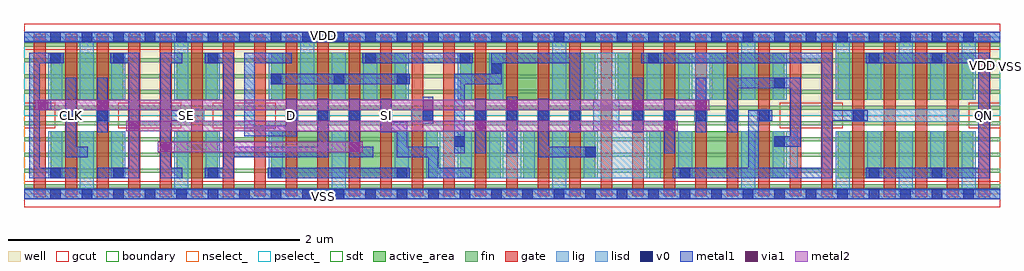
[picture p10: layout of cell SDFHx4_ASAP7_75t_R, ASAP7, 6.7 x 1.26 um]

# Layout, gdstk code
import gdstk
lib = gdstk.Library(unit=1e-6, precision=2.5e-10)
def R(c, l, rs):  # rectangles x0, y0, x1, y1
    for r in rs: c.add(gdstk.rectangle(r[:2], r[2:], *l))
def A(c, l, x, y, w, h, nx, ny, dx, dy):  # array of equal rectangles
    R(c, l, [(x+i*dx, y+j*dy, x+i*dx+w, y+j*dy+h) for i in range(nx) for j in range(ny)])
def P(c, l, *ps):  # polygons
    for p in ps: c.add(gdstk.Polygon(p, *l))
well = (1, 0)
fin = (2, 0)
gate = (7, 0)
gcut = (10, 0)
active_area = (11, 0)
nselect_ = (12, 0)
pselect_ = (13, 0)
lig = (16, 0)
lisd = (17, 0)
v0 = (18, 0)
metal1 = (19, 0)
metal2 = (20, 0)
via1 = (21, 0)
sdt = (88, 0)
boundary = (100, 0)

sdfhx4_asap7_75t_r = lib.new_cell('SDFHx4_ASAP7_75t_R')
R(sdfhx4_asap7_75t_r, well, [(0,0.54,6.696,1.08)])
A(sdfhx4_asap7_75t_r, fin, 0, 0.04, 6.696, 0.028, 1, 10, 0, 0.108)
A(sdfhx4_asap7_75t_r, gate, 0.068, -0.02, 0.08, 1.122, 7, 1, 0.216, 0)
A(sdfhx4_asap7_75t_r, gate, 5.468, -0.02, 0.08, 1.122, 6, 1, 0.216, 0)
A(sdfhx4_asap7_75t_r, gate, 1.58, -0.014, 0.08, 1.108, 18, 1, 0.216, 0)
R(sdfhx4_asap7_75t_r, gate, [(1.364,-0.014,1.444,1.094), (1.58,-0.014,1.66,1.094), (5.252,-0.014,5.332,1.094), (5.468,-0.014,5.548,1.094), (6.548,-0.014,6.628,1.094)])
R(sdfhx4_asap7_75t_r, gcut, [(0,-0.088,6.696,0.088), (0,0.452,0.216,0.628), (0.648,0.452,1.08,0.628), (1.296,0.452,1.728,0.628), (5.184,0.452,5.616,0.628), (6.48,0.452,6.696,0.628), (0,0.992,6.696,1.168)])
R(sdfhx4_asap7_75t_r, active_area, [(0.184,0.108,0.68,0.432), (1.048,0.108,1.328,0.432), (1.696,0.108,2.84,0.432), (2.992,0.108,3.272,0.432), (3.424,0.108,3.92,0.432), (4.288,0.108,5.216,0.432), (5.584,0.108,6.512,0.432), (0.184,0.648,0.68,0.972), (1.048,0.648,1.328,0.972), (1.696,0.648,2.624,0.972), (2.992,0.648,3.92,0.972), (4.072,0.648,4.568,0.972), (4.72,0.648,5.216,0.972), (5.584,0.648,6.512,0.972)])
R(sdfhx4_asap7_75t_r, nselect_, [(0,0,6.696,0.54)])
R(sdfhx4_asap7_75t_r, pselect_, [(0,0.54,6.696,1.08)])
A(sdfhx4_asap7_75t_r, lig, 1.792, 0.496, 0.088, 0.088, 4, 1, 0.216, 0)
A(sdfhx4_asap7_75t_r, lig, 3.088, 0.496, 0.088, 0.088, 4, 1, 0.216, 0)
A(sdfhx4_asap7_75t_r, lig, 4.168, 0.496, 0.088, 0.088, 5, 1, 0.216, 0)
R(sdfhx4_asap7_75t_r, lig, [(0,-0.032,6.696,0.032), (0.28,0.496,0.368,0.584), (0.496,0.496,0.584,0.584), (1.08,0.496,1.236,0.584), (2.656,0.496,2.808,0.584), (5.68,0.496,6.416,0.584), (0,1.048,6.696,1.112)])
A(sdfhx4_asap7_75t_r, lisd, 5.568, 0, 0.096, 0.432, 3, 2, 0.432, 0.648)
A(sdfhx4_asap7_75t_r, lisd, 1.248, 0.648, 0.096, 0.324, 3, 1, 0.432, 0)
R(sdfhx4_asap7_75t_r, lisd, [(0.384,0,0.48,0.432), (1.032,0,1.128,0.432), (2.112,0,2.208,0.432), (3.624,0,3.72,0.432), (4.92,0,5.016,0.432), (0.168,0.108,0.264,0.432), (0.6,0.108,0.696,0.432), (1.248,0.108,1.344,0.432), (1.68,0.108,1.776,0.432), (2.544,0.108,2.64,0.432), (2.76,0.108,3.072,0.432), (3.192,0.108,3.504,0.432), (4.488,0.108,4.584,0.432), (5.136,0.108,5.308,0.432), (5.784,0.108,5.88,0.432), (6.216,0.108,6.312,0.432), (0.168,0.648,0.264,0.972), (0.384,0.648,0.48,1.08), (0.6,0.648,0.696,0.972), (1.032,0.648,1.128,1.08), (1.896,0.648,1.992,1.08), (2.328,0.648,2.424,0.972), (2.544,0.648,2.64,0.972), (2.976,0.648,3.072,0.972), (3.192,0.648,3.288,0.972), (3.624,0.648,3.72,1.08), (4.272,0.648,4.368,0.972), (4.488,0.648,4.8,0.972), (4.92,0.648,5.016,1.08), (5.136,0.648,5.232,0.972), (5.784,0.648,5.88,0.972), (6.216,0.648,6.312,0.972)])
P(sdfhx4_asap7_75t_r, lisd, [(3.84,0.108),(3.84,0.432),(3.904,0.432),(3.904,0.648),(3.84,0.648),(3.84,0.972),(4.152,0.972),(4.152,0.648),(4.084,0.648),(4.084,0.432),(4.368,0.432),(4.368,0.108)])
A(sdfhx4_asap7_75t_r, v0, 0.18, -0.036, 0.072, 0.072, 23, 1, 0.216, 0)
A(sdfhx4_asap7_75t_r, v0, 4.932, -0.036, 0.072, 0.072, 8, 1, 0.216, 0)
A(sdfhx4_asap7_75t_r, v0, 1.8, 0.504, 0.072, 0.072, 4, 1, 0.216, 0)
A(sdfhx4_asap7_75t_r, v0, 3.096, 0.504, 0.072, 0.072, 4, 1, 0.216, 0)
A(sdfhx4_asap7_75t_r, v0, 4.176, 0.504, 0.072, 0.072, 5, 1, 0.216, 0)
A(sdfhx4_asap7_75t_r, v0, 1.692, 0.756, 0.072, 0.072, 3, 1, 0.432, 0)
A(sdfhx4_asap7_75t_r, v0, 0.18, 1.044, 0.072, 0.072, 30, 1, 0.216, 0)
R(sdfhx4_asap7_75t_r, v0, [(0.18,0.108,0.252,0.18), (0.612,0.108,0.684,0.18), (1.26,0.108,1.332,0.18), (1.692,0.108,1.764,0.18), (2.556,0.108,2.628,0.18), (4.5,0.108,4.572,0.18), (5.796,0.108,5.868,0.18), (6.228,0.108,6.3,0.18), (3.852,0.252,3.924,0.324), (2.952,0.324,3.024,0.396), (5.148,0.324,5.22,0.396), (0.288,0.504,0.36,0.576), (0.504,0.504,0.576,0.576), (1.084,0.504,1.156,0.576), (2.736,0.504,2.808,0.576), (5.688,0.504,5.76,0.576), (5.148,0.728,5.22,0.8), (3.204,0.828,3.276,0.9), (0.18,0.9,0.252,0.972), (0.612,0.9,0.684,0.972), (1.26,0.9,1.332,0.972), (2.34,0.9,2.412,0.972), (2.988,0.9,3.06,0.972), (4.284,0.9,4.356,0.972), (5.796,0.9,5.868,0.972), (6.228,0.9,6.3,0.972)])
R(sdfhx4_asap7_75t_r, metal1, [(0,-0.036,6.696,0.036), (1.672,0.108,2.648,0.18), (3.096,0.28,3.168,0.656), (3.312,0.28,3.384,0.668), (4.392,0.28,4.464,0.656), (0.504,0.424,0.576,0.8), (4.176,0.424,4.248,0.8), (4.608,0.424,4.68,0.8), (2.736,0.484,2.808,0.668), (1.692,0.756,2.648,0.828), (2.32,0.9,3.08,0.972), (0,1.044,6.696,1.116)])
P(sdfhx4_asap7_75t_r, metal1, [(5.776,0.108),(5.776,0.18),(6.548,0.18),(6.548,0.9),(5.776,0.9),(5.776,0.972),(6.624,0.972),(6.624,0.108)],
  [(4.452,0.108),(4.452,0.18),(4.968,0.18),(4.968,0.576),(5.132,0.576),(5.132,0.504),(5.04,0.504),(5.04,0.18),(5.472,0.18),(5.472,0.9),(4.236,0.9),(4.236,0.972),(5.544,0.972),(5.544,0.576),(5.788,0.576),(5.788,0.504),(5.544,0.504),(5.544,0.108)],
  [(5.148,0.324),(5.148,0.396),(5.256,0.396),(5.256,0.728),(4.896,0.728),(4.896,0.424),(4.824,0.424),(4.824,0.8),(5.328,0.8),(5.328,0.324)],
  [(3.528,0.252),(3.528,0.656),(3.6,0.656),(3.6,0.324),(3.924,0.324),(3.924,0.252)],
  [(2.952,0.28),(2.952,0.828),(3.204,0.828),(3.204,0.972),(3.816,0.972),(3.816,0.424),(3.744,0.424),(3.744,0.9),(3.276,0.9),(3.276,0.756),(3.024,0.756),(3.024,0.28)],
  [(2.772,0.108),(2.772,0.252),(2.556,0.252),(2.556,0.424),(2.448,0.424),(2.448,0.656),(2.52,0.656),(2.52,0.496),(2.628,0.496),(2.628,0.324),(2.844,0.324),(2.844,0.18),(3.068,0.18),(3.068,0.108)],
  [(2.232,0.252),(2.232,0.656),(2.304,0.656),(2.304,0.324),(2.396,0.324),(2.396,0.252)],
  [(1.24,0.108),(1.24,0.18),(1.368,0.18),(1.368,0.9),(1.24,0.9),(1.24,0.972),(1.44,0.972),(1.44,0.324),(2.016,0.324),(2.016,0.656),(2.088,0.656),(2.088,0.252),(1.44,0.252),(1.44,0.108)],
  [(1.512,0.396),(1.512,0.972),(1.836,0.972),(1.836,0.9),(1.584,0.9),(1.584,0.468),(1.8,0.468),(1.8,0.656),(1.872,0.656),(1.872,0.396)],
  [(0.936,0.108),(0.936,0.972),(1.084,0.972),(1.084,0.9),(1.008,0.9),(1.008,0.576),(1.156,0.576),(1.156,0.504),(1.008,0.504),(1.008,0.18),(1.084,0.18),(1.084,0.108)],
  [(0.036,0.108),(0.036,0.972),(0.272,0.972),(0.272,0.9),(0.108,0.9),(0.108,0.648),(0.188,0.648),(0.188,0.576),(0.108,0.576),(0.108,0.18),(0.36,0.18),(0.36,0.108)],
  [(0.288,0.252),(0.288,0.8),(0.36,0.8),(0.36,0.324),(0.436,0.324),(0.436,0.252)],
  [(0.504,0.108),(0.504,0.18),(0.72,0.18),(0.72,0.9),(0.592,0.9),(0.592,0.972),(0.792,0.972),(0.792,0.108)])
R(sdfhx4_asap7_75t_r, metal2, [(0.916,0.288,2.324,0.36), (0.7,0.432,4.484,0.504), (0.076,0.576,4.7,0.648)])
R(sdfhx4_asap7_75t_r, via1, [(0.936,0.288,1.008,0.36), (2.232,0.288,2.304,0.36), (0.72,0.432,0.792,0.504), (3.096,0.432,3.168,0.504), (4.392,0.432,4.464,0.504), (0.096,0.576,0.168,0.648), (0.504,0.576,0.576,0.648), (2.736,0.576,2.808,0.648), (3.312,0.576,3.384,0.648), (4.176,0.576,4.248,0.648), (4.608,0.576,4.68,0.648)])
A(sdfhx4_asap7_75t_r, sdt, 0.168, 0.108, 0.096, 0.324, 3, 2, 0.216, 0.54)
A(sdfhx4_asap7_75t_r, sdt, 1.248, 0.108, 0.096, 0.324, 4, 1, 0.432, 0)
A(sdfhx4_asap7_75t_r, sdt, 2.76, 0.108, 0.096, 0.324, 6, 1, 0.216, 0)
A(sdfhx4_asap7_75t_r, sdt, 5.568, 0.108, 0.096, 0.324, 5, 2, 0.216, 0.54)
A(sdfhx4_asap7_75t_r, sdt, 1.68, 0.648, 0.096, 0.324, 5, 1, 0.216, 0)
A(sdfhx4_asap7_75t_r, sdt, 3.624, 0.648, 0.096, 0.324, 8, 1, 0.216, 0)
R(sdfhx4_asap7_75t_r, sdt, [(1.032,0.108,1.128,0.432), (4.272,0.108,4.368,0.432), (4.488,0.108,4.584,0.432), (4.92,0.108,5.016,0.432), (5.136,0.108,5.232,0.432), (1.032,0.648,1.128,0.972), (1.248,0.648,1.344,0.972), (2.976,0.648,3.072,0.972), (3.192,0.648,3.288,0.972)])
R(sdfhx4_asap7_75t_r, boundary, [(0,0,6.696,1.08)])
sdfhx4_asap7_75t_r.add(gdstk.Label('VSS', (2.052,-0.014), layer=19, texttype=251))
sdfhx4_asap7_75t_r.add(gdstk.Label('QN', (6.584,0.538), layer=19, texttype=251))
sdfhx4_asap7_75t_r.add(gdstk.Label('SE', (1.112,0.538), layer=19, texttype=251))
sdfhx4_asap7_75t_r.add(gdstk.Label('CLK', (0.324,0.538), layer=19, texttype=251))
sdfhx4_asap7_75t_r.add(gdstk.Label('D', (1.836,0.538), layer=19, texttype=251))
sdfhx4_asap7_75t_r.add(gdstk.Label('SI', (2.484,0.538), layer=19, texttype=251))
sdfhx4_asap7_75t_r.add(gdstk.Label('VDD', (2.052,1.09), layer=19, texttype=251))
sdfhx4_asap7_75t_r.add(gdstk.Label('VDD', (6.576,0.88), layer=1, texttype=251))
sdfhx4_asap7_75t_r.add(gdstk.Label('VSS', (6.852,0.876), layer=3, texttype=251))

lib.write_gds('SDFHx4_ASAP7_75t_R.gds')
